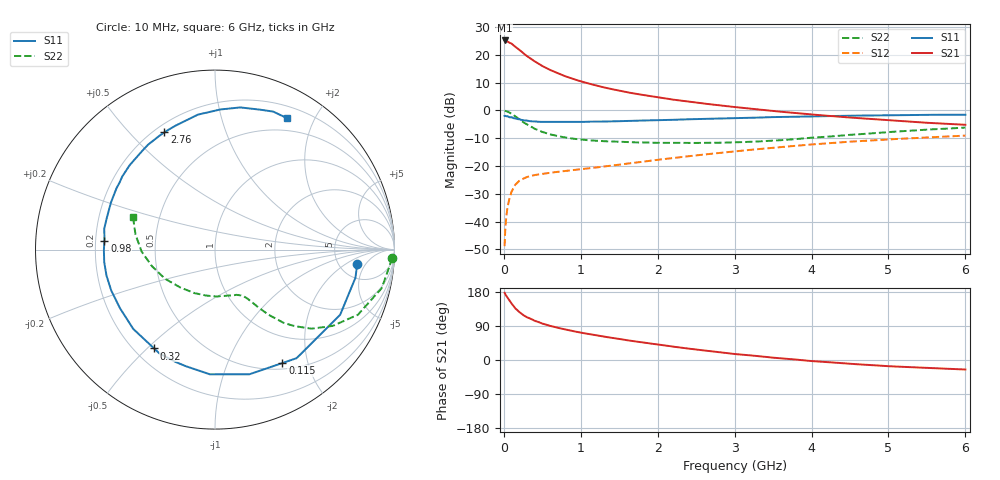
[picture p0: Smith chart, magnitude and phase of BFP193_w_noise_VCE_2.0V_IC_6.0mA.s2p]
! Infineon Technologies  Discrete & RF Semiconductors
! BFP193
! VCE = 2.0 V,  IC =  6.0 mA
! Common Emitter S-Parameters:  Jan 2016
# GHz  S  MA  R  50
!  f  S11  S21  S12  S22
! GHz  MAG  ANG  MAG  ANG  MAG  ANG  MAG  ANG
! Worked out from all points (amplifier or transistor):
!   210 points, 10 MHz to 6 GHz, reference 50 ohm
!   highest |S21| = 25.2 dB at 10 MHz (marker M1)
!   |S21| within 3 dB of that: start of sweep to 184.5 MHz
!   unconditionally stable (mu >= 1): 1.178 GHz to 3.505 GHz
!   at 185 MHz: K = 0.23, MSG = 24.0 dB, |S12| = -25.8 dB
!   at 1.52 GHz: K = 1.09, MAG = 11.4 dB, |S12| = -19.5 dB
!   at 6 GHz: K = 0.92, MSG = 2.0 dB, |S12| = -9.1 dB
!   lowest NFmin = 1.20 dB at 450 MHz
!   S11 on the Smith chart (normalised r, x): 10 MHz: 7.32, -3.27; 115 MHz: 0.58, -1.60; 320 MHz: 0.28, -0.53; 980 MHz: 0.24, +0.04; 2.76 GHz: 0.24, +0.63; 6 GHz: 0.34, +1.63
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0.01  0.7961 -5.9  18.16 177.5  0.0036 88.7  0.986 -2.7
0.02  0.7981 -11.3  17.73 172.8  0.0076 83.8  0.9777 -5.2
0.05  0.7862 -27.5  17.31 163.5  0.0187 76.1  0.9535 -13.0
0.1  0.7567 -53.1  15.95 148.9  0.0344 65.1  0.8753 -24.5
0.115  0.7351 -59.3  15.29 145.4  0.0378 61.5  0.8455 -26.8
0.15  0.7206 -74.6  13.98 136.1  0.0461 55.1  0.7821 -32.9
0.2  0.6956 -92.3  12.4 126.7  0.0538 49.1  0.6953 -39.3
0.26  0.6635 -109.2  10.53 117.6  0.0597 43.2  0.6048 -44.4
0.32  0.6469 -121.6  9.115 111.3  0.0643 39.9  0.5407 -47.5
0.4  0.6346 -135.9  7.65 103.6  0.0686 37.0  0.4686 -50.6
0.5  0.622 -148.4  6.294 96.1  0.0719 35.1  0.4093 -52.9
0.56  0.6193 -154.5  5.726 92.7  0.0741 34.8  0.3862 -53.7
0.8  0.6211 -173.6  4.106 80.3  0.0815 34.7  0.3249 -56.7
0.98  0.6181 175.7  3.403 73.0  0.0869 36.3  0.3011 -59.0
1.02  0.6199 173.5  3.278 71.5  0.088 36.7  0.2972 -59.7
1.4  0.6359 156.3  2.414 58.6  0.1012 39.6  0.2765 -66.8
2.02  0.6694 134.6  1.704 40.4  0.1301 42.1  0.2605 -82.2
2.76  0.7118 113.3  1.255 21.6  0.1692 40.6  0.2607 -106.1
3.1  0.7299 105.3  1.113 14.1  0.189 38.8  0.2691 -118.2
4.1  0.7847 86.2  0.823 -4.1  0.2495 30.6  0.3288 -153.3
5.1  0.8195 72.0  0.653 -17.3  0.3055 20.0  0.4159 178.9
6  0.8349 61.4  0.551 -25.1  0.3514 9.6  0.4909 158.5
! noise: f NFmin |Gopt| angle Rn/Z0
0.45  1.2  0.25  114  0.13
0.9  1.25  0.37  150  0.12
1.8  2  0.55  -158  0.12
